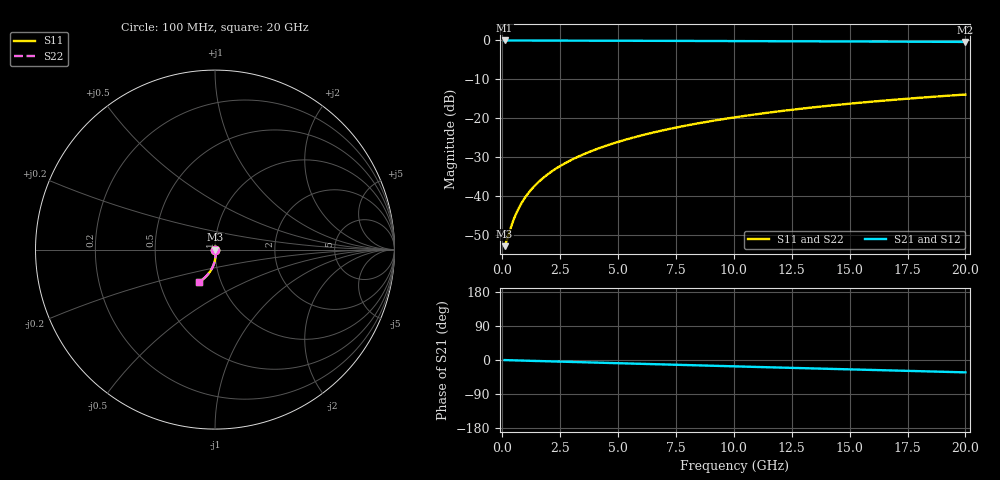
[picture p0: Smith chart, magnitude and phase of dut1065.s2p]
! Touchstone file exported from HFSS 2026.1.0
!  File:  C:/ffzhzh/LocalFiles/Ansys_Project_Files/temp_train_TMRDL_1065_1783160612_51560.aedt
!  Generated:  06:24:38 PM Jul  4, 2026
!  Design:  TMRDL
!  Project:  temp_train_TMRDL_1065_1783160612_51560
! Variables:
!  h_bsmrdl = 2um
!  h_ox = 20um
!  h_rdl = 5um
!  h_sub = 80um
!  h_tmrdl = 3.71um
!  h_tsv = 80um
!  h_via = 3um
!  l_bsmrdl = 300um
!  l_sub = 930.6um
!  l_tmrdl = 530.6um
!  m_sub = 200um
!  pitch = 28.25um
!  r_tsv = 6um
!  s_tmrdl = 10um
!  w_bsmrdl = 18um
!  w_sub = 500um
!  w_tmrdl = 26.56um
!  x_tsv_center1 = 543.88um
!  x_tsv_center2 = 861.88um
!  x_tsv_center3 = 1419.04um
!  x_tsv_center4 = 1737.04um
!  x_tsv_center5 = 2294.2um
!  x_tsv_center6 = 2612.2um
# GHz S MA R 50.000000
! Terminal data exported
! Port[1] = TM_RDL1_1_T1
! Port[2] = TM_RDL1_1_T2
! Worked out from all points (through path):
!   200 points, 100 MHz to 20 GHz, reference 50 ohm
!   highest |S21| = -0.02 dB at 100 MHz (marker M1); lowest = -0.4 dB at 20 GHz (marker M2)
!   group delay of S21, straight-line fit = 4.51 ps
!   lowest |S11| = -52.9 dB at 100 MHz (marker M3), VSWR 1.00, Z = 50.2 - j0.0267 ohm
!   |S11| at or under -10 dB: start of sweep to end of sweep
!   |S22| runs from -52.9 to -13.9 dB; largest |S21 - S12| = 3.1e-15
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0.1  0.002263 -6.8  0.9978 -0.2  0.9978 -0.2  0.002263 -6.8
! Gamma 0 0 0 0
! Port Impedance 50 0 50 0
0.2  0.00273 -15.0  0.9974 -0.4  0.9974 -0.4  0.00273 -15.0
0.4  0.004185 -32.3  0.9964 -0.8  0.9964 -0.8  0.004185 -32.3
0.6  0.005939 -45.5  0.9957 -1.1  0.9957 -1.1  0.005939 -45.5
0.7  0.006859 -50.4  0.9955 -1.3  0.9955 -1.3  0.006859 -50.4
0.9  0.008738 -57.9  0.9951 -1.6  0.9951 -1.6  0.008738 -57.9
1.2  0.0116 -65.4  0.9947 -2.1  0.9947 -2.1  0.0116 -65.4
1.4  0.01353 -68.9  0.9945 -2.5  0.9945 -2.5  0.01353 -68.9
1.7  0.01643 -72.8  0.9942 -3.0  0.9942 -3.0  0.01643 -72.8
2.2  0.02131 -77.2  0.9937 -3.8  0.9937 -3.8  0.02131 -77.2
2.8  0.02723 -80.8  0.993 -4.8  0.993 -4.8  0.02723 -80.8
3.5  0.03423 -83.6  0.9921 -6.0  0.9921 -6.0  0.03423 -83.7
4.2  0.04132 -85.9  0.991 -7.2  0.991 -7.2  0.04132 -85.9
5  0.04954 -88.0  0.9897 -8.6  0.9897 -8.6  0.04954 -88.1
5.9  0.05889 -90.2  0.9881 -10.0  0.9881 -10.0  0.05889 -90.2
6.8  0.06833 -92.1  0.9864 -11.5  0.9864 -11.5  0.06833 -92.2
8.3  0.08417 -95.2  0.9835 -14.0  0.9835 -14.0  0.08416 -95.3
10.1  0.1032 -98.7  0.9797 -16.9  0.9797 -16.9  0.1032 -98.8
11.7  0.1199 -101.7  0.9762 -19.5  0.9762 -19.5  0.1199 -101.8
13.4  0.1374 -104.9  0.9723 -22.2  0.9723 -22.2  0.1374 -104.9
16.7  0.1703 -110.7  0.9641 -27.5  0.9641 -27.5  0.1703 -110.8
20  0.2014 -116.3  0.9554 -32.6  0.9554 -32.6  0.2014 -116.4
